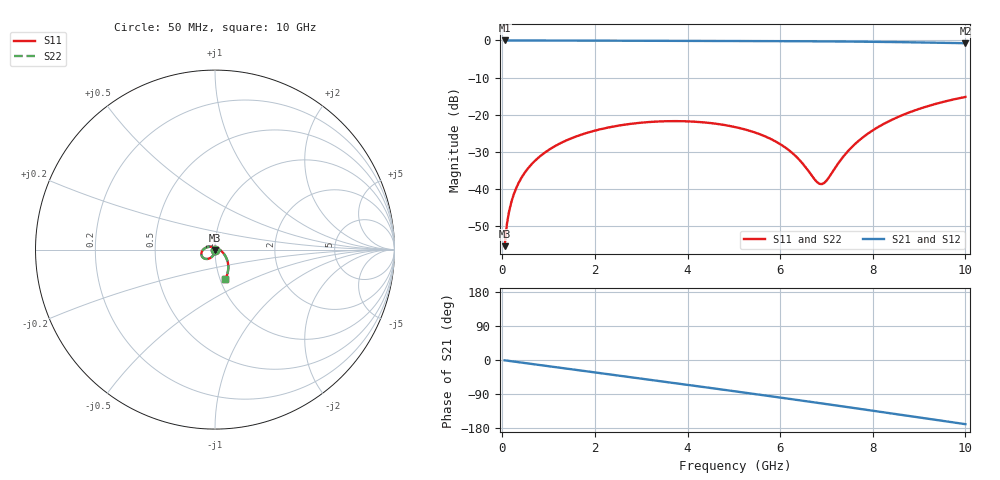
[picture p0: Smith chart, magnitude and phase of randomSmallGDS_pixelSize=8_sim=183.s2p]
! freq	dB(S11)	phase(S11)	dB(S12)	phase(S12)
!  dB(S21)	phase(S21)	dB(S22)	phase(S22)
!S-par simulation data
#  GHz  S  DB  R 50
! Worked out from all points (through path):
!   200 points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, 50 MHz to 10 GHz, reference 50 ohm
!   highest |S21| = 0.00 dB at 50 MHz (marker M1); lowest = -0.7 dB at 10 GHz (marker M2)
!   group delay of S21, straight-line fit = 46.9 ps
!   lowest |S11| = -55.5 dB at 50 MHz (marker M3), VSWR 1.00, Z = 50 - j0.169 ohm
!   |S11| at or under -10 dB: start of sweep to end of sweep
!   |S22| runs from -55.5 to -15.2 dB; largest |S21 - S12| = 0
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0.05  -55.45 -90.4  -0.00 -0.8  -0.00 -0.8  -55.45 -90.4
0.1  -49.42 -91.8  -0.00 -1.7  -0.00 -1.7  -49.42 -91.8
0.2  -43.37 -93.9  -0.00 -3.3  -0.00 -3.3  -43.37 -93.9
0.35  -38.48 -96.6  -0.00 -5.8  -0.00 -5.8  -38.48 -96.6
0.5  -35.38 -99.1  -0.01 -8.2  -0.01 -8.2  -35.38 -99.1
1  -29.53 -107.5  -0.02 -16.4  -0.02 -16.4  -29.53 -107.5
1.75  -25.21 -120.1  -0.04 -28.7  -0.04 -28.7  -25.21 -120.1
2.5  -22.98 -132.7  -0.07 -40.9  -0.07 -40.9  -22.98 -132.7
3.4  -21.83 -148.0  -0.09 -55.7  -0.09 -55.7  -21.83 -148.0
4.25  -21.98 -163.0  -0.12 -69.7  -0.12 -69.7  -21.98 -163.0
5.05  -23.40 -178.4  -0.14 -83.0  -0.14 -83.0  -23.40 -178.3
5.6  -25.47 169.5  -0.16 -92.3  -0.16 -92.3  -25.47 169.6
6.05  -28.34 156.7  -0.18 -99.9  -0.18 -99.9  -28.34 156.8
6.4  -31.99 140.8  -0.20 -105.9  -0.20 -105.9  -32.00 141.1
6.7  -36.73 110.5  -0.22 -111.1  -0.22 -111.1  -36.78 110.8
6.85  -38.65 78.9  -0.24 -113.7  -0.24 -113.7  -38.75 79.1
6.95  -38.42 53.2  -0.24 -115.4  -0.24 -115.4  -38.52 53.1
7.35  -31.52 -2.5  -0.28 -122.4  -0.28 -122.4  -31.55 -2.8
7.6  -28.11 -15.6  -0.31 -126.8  -0.31 -126.8  -28.13 -15.8
8.35  -21.77 -37.6  -0.41 -140.0  -0.41 -140.0  -21.77 -37.8
9.1  -18.05 -53.6  -0.55 -153.3  -0.55 -153.3  -18.05 -53.7
10  -15.23 -70.6  -0.75 -169.3  -0.75 -169.3  -15.23 -70.7
